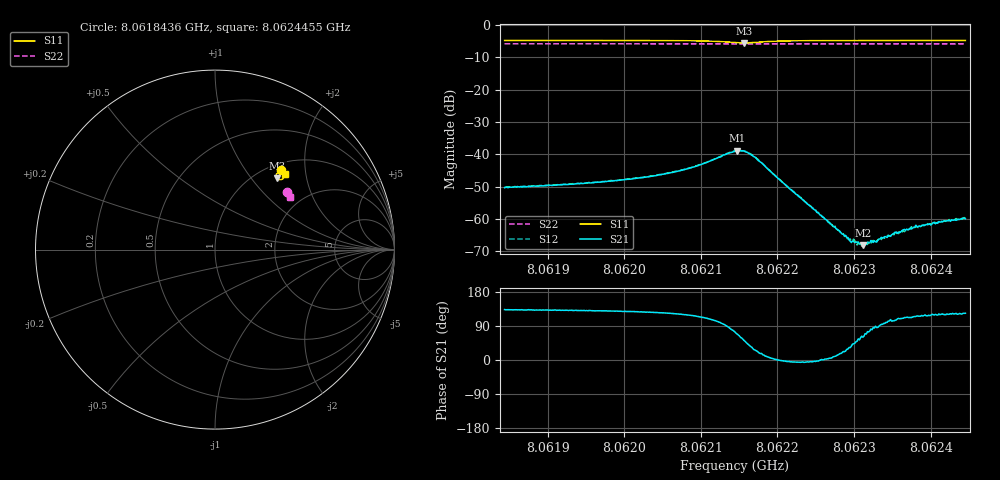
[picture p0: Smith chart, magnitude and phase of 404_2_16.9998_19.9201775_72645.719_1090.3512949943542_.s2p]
#  HZ  S  RI  R  50.00
! Rohde & Schwarz Vector Network Analyzer
! Rohde-Schwarz,ZNB20-2Port,1311601062101988,3.16
! Created: UTC 3/20/2024, 11:10:10 PM
! freq[Hz]  re:S11  im:S11  re:S21  im:S21  re:S12  im:S12  re:S22  im:S22
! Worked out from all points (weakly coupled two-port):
!   401 points, 8.0618436 GHz to 8.0624455 GHz, reference 50 ohm
!   highest |S21| = -38.87 dB at 8.0621475 GHz (marker M1); lowest = -68.0 dB at 8.0623116 GHz (marker M2)
!   lowest |S11| = -5.6 dB at 8.0621566 GHz (marker M3), VSWR 3.23, Z = 62 + j68 ohm
!   |S11| at or under -10 dB: nowhere
!   |S22| runs from -5.9 to -5.8 dB; largest |S21 - S12| = 0.00081
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8.06184357e9  0.3669 0.444  -0.00208 0.00223  -0.00198 0.00243  0.3988 0.3209
8.06194439e9  0.3741 0.4377  -0.0023 0.0027  -0.00218 0.00285  0.4027 0.3158
8.06199706e9  0.3782 0.4334  -0.00248 0.00317  -0.00234 0.00331  0.4047 0.3132
8.06204521e9  0.3824 0.4279  -0.00276 0.00396  -0.00251 0.00415  0.4064 0.3106
8.06209036e9  0.3863 0.418  -0.00288 0.00567  -0.00254 0.00586  0.4081 0.308
8.06214453e9  0.3652 0.3897  0.00307 0.0106  0.00378 0.0107  0.4086 0.3046
8.06214754e9  0.3607 0.3897  0.00421 0.0106  0.00476 0.0104  0.4085 0.3044
8.06215657e9  0.3475 0.3962  0.00707 0.00875  0.0075 0.00834  0.4083 0.3043
8.06217161e9  0.3413 0.4174  0.008 0.00381  0.00832 0.00322  0.4089 0.3048
8.06224535e9  0.3721 0.4346  0.00148 -0.000127  0.00148 -0.000179  0.4128 0.3016
8.0622935e9  0.3797 0.4313  0.000399 0.000258  0.000408 0.000261  0.4147 0.299
8.06229802e9  0.3803 0.431  0.000339 0.000306  0.000397 0.000238  0.415 0.2988
8.06230704e9  0.3813 0.4304  0.000248 0.000331  0.000275 0.000308  0.4152 0.2983
8.06231156e9  0.3818 0.4299  0.000199 0.000345  0.000204 0.000352  0.4155 0.298
8.06232811e9  0.3834 0.429  6.02e-06 0.000444  5.65e-05 0.000472  0.4161 0.2971
8.06233263e9  0.3839 0.4286  8.72e-06 0.000491  1.69e-05 0.000477  0.4162 0.297
8.06234617e9  0.385 0.4278  -0.000124 0.000538  -0.000101 0.000543  0.4167 0.2961
8.06235219e9  0.3855 0.4274  -0.00014 0.000586  -0.000131 0.000553  0.417 0.2959
8.06237777e9  0.3877 0.4259  -0.000306 0.000678  -0.000267 0.00068  0.4178 0.2946
8.06238228e9  0.388 0.4255  -0.000335 0.00068  -0.00027 0.000701  0.418 0.2944
8.06240786e9  0.3899 0.4242  -0.000424 0.000763  -0.000386 0.000775  0.4189 0.2929
8.06244548e9  0.3925 0.422  -0.000553 0.000843  -0.00052 0.000893  0.4201 0.2911
